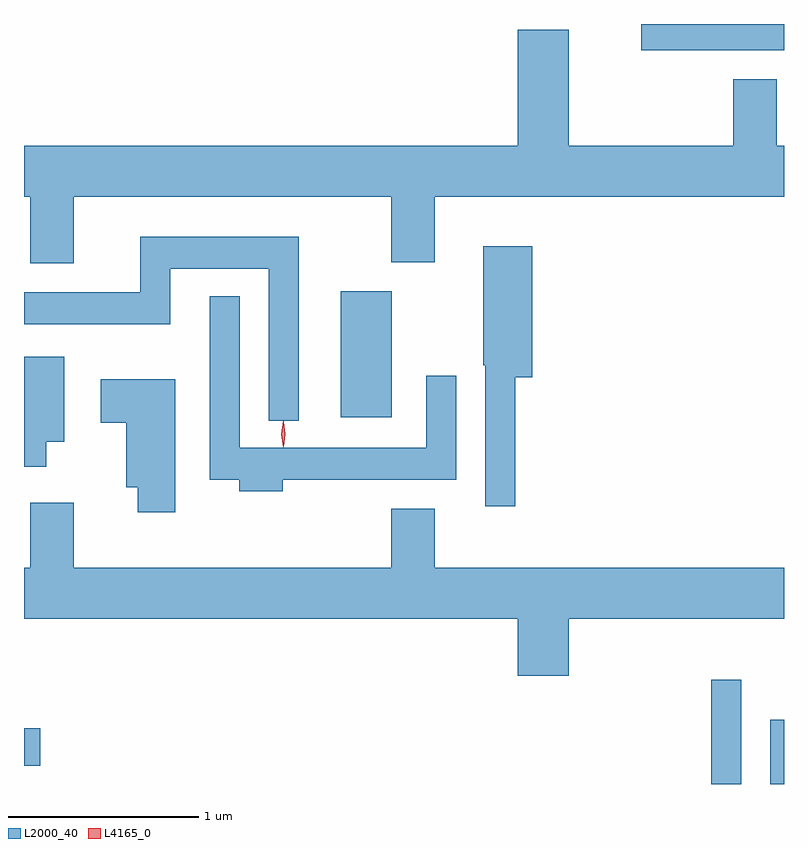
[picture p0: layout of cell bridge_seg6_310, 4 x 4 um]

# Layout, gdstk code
import gdstk
lib = gdstk.Library(unit=1e-6, precision=1e-09)
def R(c, l, rs):  # rectangles x0, y0, x1, y1
    for r in rs: c.add(gdstk.rectangle(r[:2], r[2:], *l))
def P(c, l, *ps):  # polygons
    for p in ps: c.add(gdstk.Polygon(p, *l))
L2000_40 = (2000, 40)
L4165_0 = (4165, 0)

bridge_seg6_310 = lib.new_cell('bridge_seg6_310')
R(bridge_seg6_310, L2000_40, [(1314.996,1555.825,1315.154,1556.373), (1315.306,1555.825,1315.378,1556.164), (1311.378,1555.921,1311.464,1556.119), (1313.046,1557.756,1313.314,1558.419), (1314.626,1559.686,1315.378,1559.825)])
P(bridge_seg6_310, L2000_40, [(1311.639,1558.916),(1313.311,1558.916),(1313.311,1558.571),(1313.539,1558.571),(1313.539,1558.916),(1315.378,1558.916),(1315.378,1559.184),(1315.339,1559.184),(1315.339,1559.534),(1315.111,1559.534),(1315.111,1559.184),(1314.244,1559.184),(1314.244,1559.794),(1313.976,1559.794),(1313.976,1559.184),(1311.378,1559.184),(1311.378,1558.916),(1311.411,1558.916),(1311.411,1558.566),(1311.639,1558.566)],
  [(1312.824,1558.704),(1311.991,1558.704),(1311.991,1558.414),(1311.378,1558.414),(1311.378,1558.246),(1312.149,1558.246),(1312.149,1558.536),(1312.666,1558.536),(1312.666,1557.738),(1312.824,1557.738)],
  [(1313.964,1557.966),(1314.054,1557.966),(1314.054,1558.654),(1313.796,1558.654),(1313.796,1558.03),(1313.806,1558.03),(1313.806,1557.288),(1313.964,1557.288)],
  [(1312.739,1557.426),(1313.654,1557.426),(1313.654,1557.973),(1313.496,1557.973),(1313.496,1557.594),(1312.514,1557.594),(1312.514,1558.393),(1312.356,1558.393),(1312.356,1557.426),(1312.511,1557.426),(1312.511,1557.366),(1312.739,1557.366)],
  [(1311.494,1557.626),(1311.589,1557.626),(1311.589,1558.074),(1311.378,1558.074),(1311.378,1557.496),(1311.494,1557.496)],
  [(1312.174,1557.954),(1311.781,1557.954),(1311.781,1557.726),(1311.916,1557.726),(1311.916,1557.386),(1311.976,1557.386),(1311.976,1557.256),(1312.174,1557.256)],
  [(1314.244,1556.696),(1315.378,1556.696),(1315.378,1556.964),(1313.539,1556.964),(1313.539,1557.274),(1313.311,1557.274),(1313.311,1556.964),(1311.639,1556.964),(1311.639,1557.304),(1311.411,1557.304),(1311.411,1556.964),(1311.378,1556.964),(1311.378,1556.696),(1313.976,1556.696),(1313.976,1556.396),(1314.244,1556.396)])
P(bridge_seg6_310, L4165_0, [(1312.744,1557.599),(1312.744,1557.6),(1312.735,1557.666),(1312.744,1557.732),(1312.745,1557.733),(1312.745,1557.732),(1312.754,1557.666),(1312.745,1557.6)],
  [(1312.742,1557.597),(1312.742,1557.598),(1312.732,1557.667),(1312.742,1557.736),(1312.742,1557.736),(1312.743,1557.736),(1312.752,1557.667),(1312.743,1557.598)])

lib.write_gds('bridge_seg6_310.gds')
